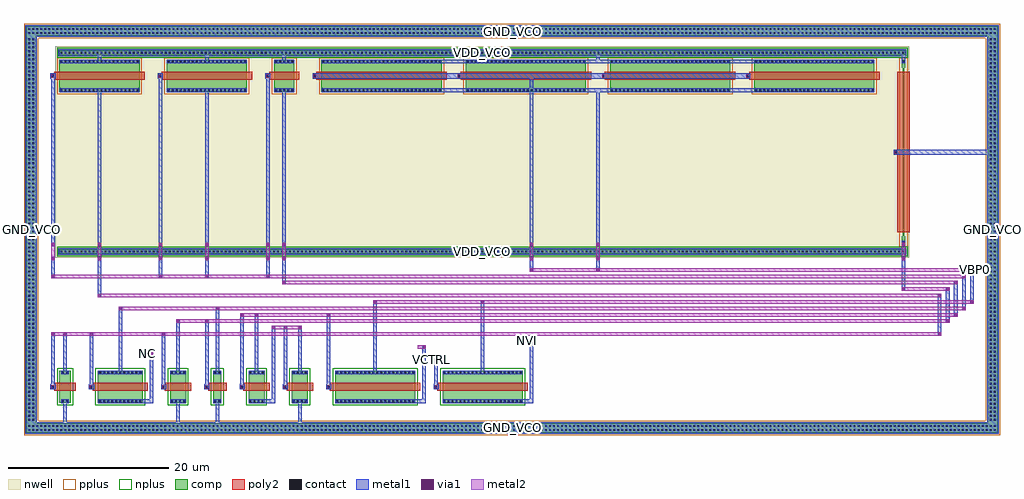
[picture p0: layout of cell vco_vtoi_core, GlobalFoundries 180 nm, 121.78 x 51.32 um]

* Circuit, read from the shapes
.subckt vco_vtoi_core GND_VCO NC NOFF NVI VBP0 VCTRL VDD_VCO
XM1 n1 n1 GND_VCO GND_VCO nfet_03v3 w=1.4u l=1u
XM2 n2 n1 NC GND_VCO nfet_03v3 w=5.6u l=1u
XM3 n3 n1 GND_VCO GND_VCO nfet_03v3 w=2u l=1u
XM4 n2 n3 GND_VCO GND_VCO nfet_03v3 w=1u l=1u
XM5 n4 n4 n5 GND_VCO nfet_03v3 w=2u l=1u
XM6 n5 n5 GND_VCO GND_VCO nfet_03v3 w=2u l=1u
XM7 VBP0 n4 NOFF GND_VCO nfet_03v3 w=10u l=1u
XM8 VBP0 VCTRL NVI GND_VCO nfet_03v3 w=10u l=1u
XM9 VDD_VCO n2 n1 VDD_VCO pfet_03v3 w=10u l=1u
XM10 VDD_VCO n2 n2 VDD_VCO pfet_03v3 w=10u l=1u
XM11 VDD_VCO n2 n4 VDD_VCO pfet_03v3 w=2.5u l=1u
XM12 VDD_VCO VBP0 VBP0 VDD_VCO pfet_03v3 w=15u l=1u m=4
XM13 VDD_VCO GND_VCO n3 VDD_VCO pfet_03v3 w=0.22u l=20u
.ends

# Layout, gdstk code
import gdstk
lib = gdstk.Library(unit=1e-6, precision=1e-09)
def R(c, l, rs):  # rectangles x0, y0, x1, y1
    for r in rs: c.add(gdstk.rectangle(r[:2], r[2:], *l))
def A(c, l, x, y, w, h, nx, ny, dx, dy):  # array of equal rectangles
    R(c, l, [(x+i*dx, y+j*dy, x+i*dx+w, y+j*dy+h) for i in range(nx) for j in range(ny)])
nwell = (21, 0)
comp = (22, 0)
poly2 = (30, 0)
pplus = (31, 0)
nplus = (32, 0)
contact = (33, 0)
metal1 = (34, 0)
via1 = (35, 0)
metal2 = (36, 0)

vco_vtoi_core = lib.new_cell('vco_vtoi_core')
R(vco_vtoi_core, nwell, [(-0.5,18.1,106.02,44.5)])
A(vco_vtoi_core, comp, 32.7, 38.8, 15, 4, 4, 1, 18, 0)
R(vco_vtoi_core, comp, [(-4.12,-3.72,117.06,-2.52), (-4.12,-2.52,-2.92,45.8), (115.86,-2.52,117.06,45.8), (0,0,1.4,4), (4.8,0,10.4,4), (13.8,0,15.8,4), (19.2,0,20.2,4), (23.6,0,25.6,4), (29,0,31,4), (34.4,0,44.4,4), (47.8,0,57.8,4), (0,18.6,105.52,19.2), (105.1,19.8,105.52,20.8), (105.2,20.8,105.42,41.8), (0,38.8,10,42.8), (13.4,38.8,23.4,42.8), (26.8,38.8,29.3,42.8), (105.1,41.8,105.52,42.8), (0,43.4,105.52,44), (-4.12,45.8,117.06,47)])
A(vco_vtoi_core, poly2, 22.6, 1.8, 0.4, 0.4, 3, 1, 5.4, 0)
A(vco_vtoi_core, poly2, 32.05, 40.3, 16.3, 1, 4, 1, 18, 0)
A(vco_vtoi_core, poly2, -1, 40.6, 0.4, 0.4, 3, 1, 13.4, 0)
A(vco_vtoi_core, poly2, 31.7, 40.6, 0.4, 0.4, 4, 1, 18, 0)
R(vco_vtoi_core, poly2, [(-0.65,1.5,2.05,2.5), (4.15,1.5,11.05,2.5), (13.15,1.5,16.45,2.5), (18.55,1.5,20.85,2.5), (22.95,1.5,26.25,2.5), (28.35,1.5,31.65,2.5), (33.75,1.5,45.05,2.5), (47.15,1.5,58.45,2.5), (-1,1.8,-0.6,2.2), (3.8,1.8,4.2,2.2), (12.8,1.8,13.2,2.2), (18.2,1.8,18.6,2.2), (46.8,1.8,47.2,2.2), (104.55,21.3,106.07,41.3), (104.2,31.1,104.6,31.5), (-0.65,40.3,10.65,41.3), (12.75,40.3,24.05,41.3), (26.15,40.3,29.95,41.3)])
A(vco_vtoi_core, pplus, 32.4, 38.5, 15.6, 4.6, 4, 1, 18, 0)
R(vco_vtoi_core, pplus, [(-4.42,-4.02,117.36,-2.22), (-4.42,-2.82,-2.62,46.1), (115.56,-2.82,117.36,46.1), (104.8,19.5,105.82,43.1), (-0.3,38.5,10.3,43.1), (13.1,38.5,23.7,43.1), (26.5,38.5,29.6,43.1), (-4.42,45.5,117.36,47.3)])
R(vco_vtoi_core, nplus, [(-0.3,-0.3,1.7,4.3), (4.5,-0.3,10.7,4.3), (13.5,-0.3,16.1,4.3), (18.9,-0.3,20.5,4.3), (23.3,-0.3,25.9,4.3), (28.7,-0.3,31.3,4.3), (34.1,-0.3,44.7,4.3), (47.5,-0.3,58.1,4.3), (-0.3,18.3,105.82,19.5), (-0.3,43.1,105.82,44.3)])
A(vco_vtoi_core, contact, -3.89, -3.48, 0.22, 0.22, 242, 2, 0.5, 0.5)
A(vco_vtoi_core, contact, -3.88, -2.22, 0.22, 0.22, 1, 96, 0, 0.5)
A(vco_vtoi_core, contact, -3.38, -2.22, 0.22, 0.22, 1, 96, 0, 0.5)
A(vco_vtoi_core, contact, 116.1, -2.22, 0.22, 0.22, 1, 96, 0, 0.5)
A(vco_vtoi_core, contact, 116.6, -2.22, 0.22, 0.22, 1, 96, 0, 0.5)
A(vco_vtoi_core, contact, 4.99, 0.1, 0.22, 0.22, 11, 2, 0.5, 3.58)
A(vco_vtoi_core, contact, 13.94, 0.1, 0.22, 0.22, 4, 2, 0.5, 3.58)
A(vco_vtoi_core, contact, 23.74, 0.1, 0.22, 0.22, 4, 2, 0.5, 3.58)
A(vco_vtoi_core, contact, 29.14, 0.1, 0.22, 0.22, 4, 2, 0.5, 3.58)
A(vco_vtoi_core, contact, 34.54, 0.1, 0.22, 0.22, 20, 2, 0.5, 3.58)
A(vco_vtoi_core, contact, 47.94, 0.1, 0.22, 0.22, 20, 2, 0.5, 3.58)
A(vco_vtoi_core, contact, 22.69, 1.89, 0.22, 0.22, 3, 1, 5.4, 0)
A(vco_vtoi_core, contact, 0.15, 18.79, 0.22, 0.22, 211, 2, 0.5, 24.8)
A(vco_vtoi_core, contact, 0.14, 38.9, 0.22, 0.22, 20, 2, 0.5, 3.58)
A(vco_vtoi_core, contact, 13.54, 38.9, 0.22, 0.22, 20, 2, 0.5, 3.58)
A(vco_vtoi_core, contact, 26.94, 38.9, 0.22, 0.22, 5, 2, 0.5, 3.58)
A(vco_vtoi_core, contact, 32.84, 38.9, 0.22, 0.22, 30, 2, 0.5, 3.58)
A(vco_vtoi_core, contact, 50.84, 38.9, 0.22, 0.22, 30, 2, 0.5, 3.58)
A(vco_vtoi_core, contact, 68.84, 38.9, 0.22, 0.22, 30, 2, 0.5, 3.58)
A(vco_vtoi_core, contact, 86.84, 38.9, 0.22, 0.22, 30, 2, 0.5, 3.58)
A(vco_vtoi_core, contact, -0.91, 40.69, 0.22, 0.22, 3, 1, 13.4, 0)
A(vco_vtoi_core, contact, 31.79, 40.69, 0.22, 0.22, 4, 1, 18, 0)
A(vco_vtoi_core, contact, -3.89, 46.04, 0.22, 0.22, 242, 2, 0.5, 0.5)
R(vco_vtoi_core, contact, [(0.34,0.1,0.56,0.32), (0.84,0.1,1.06,0.32), (19.34,0.1,19.56,0.32), (19.84,0.1,20.06,0.32), (-0.91,1.89,-0.69,2.11), (3.89,1.89,4.11,2.11), (12.89,1.89,13.11,2.11), (18.29,1.89,18.51,2.11), (46.89,1.89,47.11,2.11), (0.34,3.68,0.56,3.9), (0.84,3.68,1.06,3.9), (19.34,3.68,19.56,3.9), (19.84,3.68,20.06,3.9), (105.2,19.9,105.42,20.12), (104.29,31.19,104.51,31.41), (105.2,42.48,105.42,42.7)])
A(vco_vtoi_core, metal1, 22.48, 1.68, 0.64, 0.64, 3, 1, 5.4, 0)
A(vco_vtoi_core, metal1, -1.02, 19.77, 0.44, 20.71, 3, 1, 13.4, 0)
A(vco_vtoi_core, metal1, 32.72, 38.78, 14.96, 0.46, 4, 2, 18, 3.58)
A(vco_vtoi_core, metal1, -1.12, 40.48, 0.64, 0.64, 3, 1, 13.4, 0)
A(vco_vtoi_core, metal1, 31.58, 40.48, 0.64, 0.64, 4, 1, 18, 0)
R(vco_vtoi_core, metal1, [(-4.24,-3.84,117.18,-2.4), (-4.24,-2.64,-2.8,45.92), (115.74,-2.64,117.18,45.92), (0.48,-2.4,0.92,-0.02), (14.58,-2.4,15.02,-0.02), (19.48,-2.4,19.92,-0.02), (29.78,-2.4,30.22,-0.02), (0.22,-0.02,1.18,0.44), (4.87,-0.02,10.33,0.44), (4.87,-0.02,11.72,0.44), (13.82,-0.02,15.78,0.44), (19.22,-0.02,20.18,0.44), (23.62,-0.02,25.58,0.44), (23.62,-0.02,26.92,0.44), (29.02,-0.02,30.98,0.44), (34.42,-0.02,44.38,0.44), (34.42,-0.02,45.72,0.44), (47.82,-0.02,57.78,0.44), (47.82,-0.02,59.12,0.44), (11.28,0.21,11.72,6.2), (26.48,0.21,26.92,9.4), (45.28,0.21,45.72,7), (58.68,0.21,59.12,7.8), (-1.12,1.68,-0.48,2.32), (3.68,1.68,4.32,2.32), (12.68,1.68,13.32,2.32), (18.08,1.68,18.72,2.32), (46.68,1.68,47.32,2.32), (-1.02,2.32,-0.58,8.6), (3.78,2.32,4.22,8.6), (12.78,2.32,13.22,8.6), (18.18,2.32,18.62,10.2), (22.58,2.32,23.02,11), (27.98,2.32,28.42,9.4), (33.38,2.32,33.82,11), (46.78,2.32,47.22,5.4), (0.22,3.56,1.18,4.02), (4.87,3.56,10.33,4.02), (13.82,3.56,15.78,4.02), (19.22,3.56,20.18,4.02), (23.62,3.56,25.58,4.02), (29.02,3.56,30.98,4.02), (34.42,3.56,44.38,4.02), (47.82,3.56,57.78,4.02), (0.48,4.02,0.92,8.6), (7.38,4.02,7.82,11.8), (14.58,4.02,15.02,10.2), (19.48,4.02,19.92,11.8), (24.38,4.02,24.82,11), (29.78,4.02,30.22,9.4), (39.18,4.02,39.62,12.6), (52.58,4.02,53.02,12.6), (46.78,5.18,47.22,5.62), (11.28,5.98,11.72,6.42), (45.28,6.78,45.72,7.22), (58.68,7.58,59.12,8.02), (-1.02,8.38,-0.58,8.82), (0.48,8.38,0.92,8.82), (3.78,8.38,4.22,8.82), (12.78,8.38,13.22,8.82), (109.62,8.38,110.06,8.82), (109.62,8.6,110.06,13.4), (26.48,9.18,26.92,9.62), (27.98,9.18,28.42,9.62), (29.78,9.18,30.22,9.62), (14.58,9.98,15.02,10.42), (18.18,9.98,18.62,10.42), (110.62,9.98,111.06,10.42), (110.62,10.2,111.06,14.2), (22.58,10.78,23.02,11.22), (24.38,10.78,24.82,11.22), (33.38,10.78,33.82,11.22), (111.62,10.78,112.06,11.22), (111.62,11,112.06,15), (7.38,11.58,7.82,12.02), (19.48,11.58,19.92,12.02), (112.62,11.58,113.06,12.02), (112.62,11.8,113.06,15.8), (39.18,12.38,39.62,12.82), (52.58,12.38,53.02,12.82), (113.62,12.38,114.06,12.82), (113.62,12.6,114.06,16.6), (4.78,13.18,5.22,13.62), (109.62,13.18,110.06,13.62), (4.78,13.4,5.22,18.03), (105.09,13.98,105.53,14.42), (110.62,13.98,111.06,14.42), (105.09,14.2,105.53,18.03), (27.83,14.78,28.27,15.22), (111.62,14.78,112.06,15.22), (27.83,15,28.27,18.03), (-1.02,15.58,-0.58,16.02), (12.38,15.58,12.82,16.02), (18.18,15.58,18.62,16.02), (25.78,15.58,26.22,16.02), (112.62,15.58,113.06,16.02), (-1.02,15.8,-0.58,18.03), (12.38,15.8,12.82,18.03), (18.18,15.8,18.62,18.03), (25.78,15.8,26.22,18.03), (58.68,16.38,59.12,16.82), (66.98,16.38,67.42,16.82), (113.62,16.38,114.06,16.82), (58.68,16.6,59.12,18.03), (66.98,16.6,67.42,18.03), (-1.02,17.81,-0.58,18.25), (4.78,17.81,5.22,18.25), (12.38,17.81,12.82,18.25), (18.18,17.81,18.62,18.25), (25.78,17.81,26.22,18.25), (27.83,17.81,28.27,18.25), (58.68,17.81,59.12,18.25), (66.98,17.81,67.42,18.25), (105.09,17.81,105.53,18.25), (-0.12,18.48,105.64,19.32), (-1.02,19.55,-0.58,19.99), (4.78,19.55,5.22,19.99), (12.38,19.55,12.82,19.99), (18.18,19.55,18.62,19.99), (25.78,19.55,26.22,19.99), (27.83,19.55,28.27,19.99), (58.68,19.55,59.12,19.99), (66.98,19.55,67.42,19.99), (105.09,19.55,105.53,19.99), (4.78,19.77,5.22,38.78), (18.18,19.77,18.62,38.78), (27.83,19.77,28.27,38.78), (58.68,19.77,59.12,40.48), (66.98,19.77,67.42,38.78), (105.09,19.77,105.53,19.78), (105.08,19.78,105.54,20.24), (104.08,30.98,104.72,31.62), (104.08,30.98,116.36,31.62), (0.02,38.78,9.98,39.24), (13.42,38.78,23.38,39.24), (26.82,38.78,29.28,39.24), (32.72,38.78,101.68,39.24), (31.58,40.48,86.22,41.12), (0.02,42.36,9.98,42.82), (13.42,42.36,23.38,42.82), (26.82,42.36,29.28,42.82), (32.72,42.36,101.68,42.82), (105.08,42.36,105.54,42.82), (4.78,42.82,5.22,43.4), (18.18,42.82,18.62,43.4), (27.83,42.82,28.27,43.4), (66.98,42.82,67.42,43.4), (105.09,42.82,105.53,43.4), (-0.12,43.28,105.64,44.12), (-4.24,45.68,117.18,47.12)])
R(vco_vtoi_core, via1, [(46.87,5.27,47.13,5.53), (11.37,6.07,11.63,6.33), (45.37,6.87,45.63,7.13), (58.77,7.67,59.03,7.93), (-0.93,8.47,-0.67,8.73), (0.57,8.47,0.83,8.73), (3.87,8.47,4.13,8.73), (12.87,8.47,13.13,8.73), (109.71,8.47,109.97,8.73), (26.57,9.27,26.83,9.53), (28.07,9.27,28.33,9.53), (29.87,9.27,30.13,9.53), (14.67,10.07,14.93,10.33), (18.27,10.07,18.53,10.33), (110.71,10.07,110.97,10.33), (22.67,10.87,22.93,11.13), (24.47,10.87,24.73,11.13), (33.47,10.87,33.73,11.13), (111.71,10.87,111.97,11.13), (7.47,11.67,7.73,11.93), (19.57,11.67,19.83,11.93), (112.71,11.67,112.97,11.93), (39.27,12.47,39.53,12.73), (52.67,12.47,52.93,12.73), (113.71,12.47,113.97,12.73), (4.87,13.27,5.13,13.53), (109.71,13.27,109.97,13.53), (105.18,14.07,105.44,14.33), (110.71,14.07,110.97,14.33), (27.92,14.87,28.18,15.13), (111.71,14.87,111.97,15.13), (-0.93,15.67,-0.67,15.93), (12.47,15.67,12.73,15.93), (18.27,15.67,18.53,15.93), (25.87,15.67,26.13,15.93), (112.71,15.67,112.97,15.93), (58.77,16.47,59.03,16.73), (67.07,16.47,67.33,16.73), (113.71,16.47,113.97,16.73), (-0.93,17.9,-0.67,18.16), (4.87,17.9,5.13,18.16), (12.47,17.9,12.73,18.16), (18.27,17.9,18.53,18.16), (25.87,17.9,26.13,18.16), (27.92,17.9,28.18,18.16), (58.77,17.9,59.03,18.16), (67.07,17.9,67.33,18.16), (105.18,17.9,105.44,18.16), (-0.93,19.64,-0.67,19.9), (4.87,19.64,5.13,19.9), (12.47,19.64,12.73,19.9), (18.27,19.64,18.53,19.9), (25.87,19.64,26.13,19.9), (27.92,19.64,28.18,19.9), (58.77,19.64,59.03,19.9), (67.07,19.64,67.33,19.9), (105.18,19.64,105.44,19.9)])
R(vco_vtoi_core, metal2, [(46.18,5.18,47,5.62), (46.78,5.18,47.22,5.62), (46.78,5.18,47.22,5.62), (10.68,5.98,11.5,6.42), (11.28,5.98,11.72,6.42), (11.28,5.98,11.72,6.42), (44.68,6.78,45.5,7.22), (45.28,6.78,45.72,7.22), (45.28,6.78,45.72,7.22), (58.08,7.58,58.9,8.02), (58.68,7.58,59.12,8.02), (58.68,7.58,59.12,8.02), (-1.02,8.38,-0.58,8.82), (-1.02,8.38,110.06,8.82), (0.48,8.38,0.92,8.82), (3.78,8.38,4.22,8.82), (12.78,8.38,13.22,8.82), (109.62,8.38,110.06,8.82), (26.48,9.18,26.92,9.62), (26.48,9.18,30.22,9.62), (27.98,9.18,28.42,9.62), (29.78,9.18,30.22,9.62), (14.58,9.98,15.02,10.42), (14.58,9.98,111.06,10.42), (18.18,9.98,18.62,10.42), (110.62,9.98,111.06,10.42), (22.58,10.78,23.02,11.22), (22.58,10.78,112.06,11.22), (24.38,10.78,24.82,11.22), (33.38,10.78,33.82,11.22), (111.62,10.78,112.06,11.22), (7.38,11.58,7.82,12.02), (7.38,11.58,113.06,12.02), (19.48,11.58,19.92,12.02), (112.62,11.58,113.06,12.02), (39.18,12.38,39.62,12.82), (39.18,12.38,114.06,12.82), (52.58,12.38,53.02,12.82), (113.62,12.38,114.06,12.82), (4.78,13.18,5.22,13.62), (4.78,13.18,110.06,13.62), (109.62,13.18,110.06,13.62), (105.09,13.98,105.53,14.42), (105.09,13.98,111.06,14.42), (110.62,13.98,111.06,14.42), (27.83,14.78,28.27,15.22), (27.83,14.78,112.06,15.22), (111.62,14.78,112.06,15.22), (-1.02,15.58,-0.58,16.02), (-1.02,15.58,113.06,16.02), (12.38,15.58,12.82,16.02), (18.18,15.58,18.62,16.02), (25.78,15.58,26.22,16.02), (112.62,15.58,113.06,16.02), (58.68,16.38,59.12,16.82), (58.68,16.38,114.06,16.82), (66.98,16.38,67.42,16.82), (113.62,16.38,114.06,16.82), (113.84,16.38,114.66,16.82), (-1.02,17.81,-0.58,18.25), (4.78,17.81,5.22,18.25), (12.38,17.81,12.82,18.25), (18.18,17.81,18.62,18.25), (25.78,17.81,26.22,18.25), (27.83,17.81,28.27,18.25), (58.68,17.81,59.12,18.25), (66.98,17.81,67.42,18.25), (105.09,17.81,105.53,18.25), (-1.02,18.03,-0.58,19.77), (4.78,18.03,5.22,19.77), (12.38,18.03,12.82,19.77), (18.18,18.03,18.62,19.77), (25.78,18.03,26.22,19.77), (27.83,18.03,28.27,19.77), (58.68,18.03,59.12,19.77), (66.98,18.03,67.42,19.77), (105.09,18.03,105.53,19.77), (-1.02,19.55,-0.58,19.99), (4.78,19.55,5.22,19.99), (12.38,19.55,12.82,19.99), (18.18,19.55,18.62,19.99), (25.78,19.55,26.22,19.99), (27.83,19.55,28.27,19.99), (58.68,19.55,59.12,19.99), (66.98,19.55,67.42,19.99), (105.09,19.55,105.53,19.99)])
vco_vtoi_core.add(gdstk.Label('VDD_VCO', (52.76,43.7), layer=34, texttype=10))
vco_vtoi_core.add(gdstk.Label('VDD_VCO', (52.76,18.9), layer=34, texttype=10))
vco_vtoi_core.add(gdstk.Label('GND_VCO', (56.47,46.4), layer=34, texttype=10))
vco_vtoi_core.add(gdstk.Label('GND_VCO', (56.47,-3.12), layer=34, texttype=10))
vco_vtoi_core.add(gdstk.Label('GND_VCO', (-3.52,21.64), layer=34, texttype=10))
vco_vtoi_core.add(gdstk.Label('GND_VCO', (116.46,21.64), layer=34, texttype=10))
vco_vtoi_core.add(gdstk.Label('VCTRL', (46.48,5.4), layer=36, texttype=10))
vco_vtoi_core.add(gdstk.Label('NC', (10.98,6.2), layer=36, texttype=10))
vco_vtoi_core.add(gdstk.Label('NOFF', (44.98,7), layer=36, texttype=10))
vco_vtoi_core.add(gdstk.Label('NVI', (58.38,7.8), layer=36, texttype=10))
vco_vtoi_core.add(gdstk.Label('VBP0', (114.36,16.6), layer=36, texttype=10))

lib.write_gds('vco_vtoi_core.gds')
